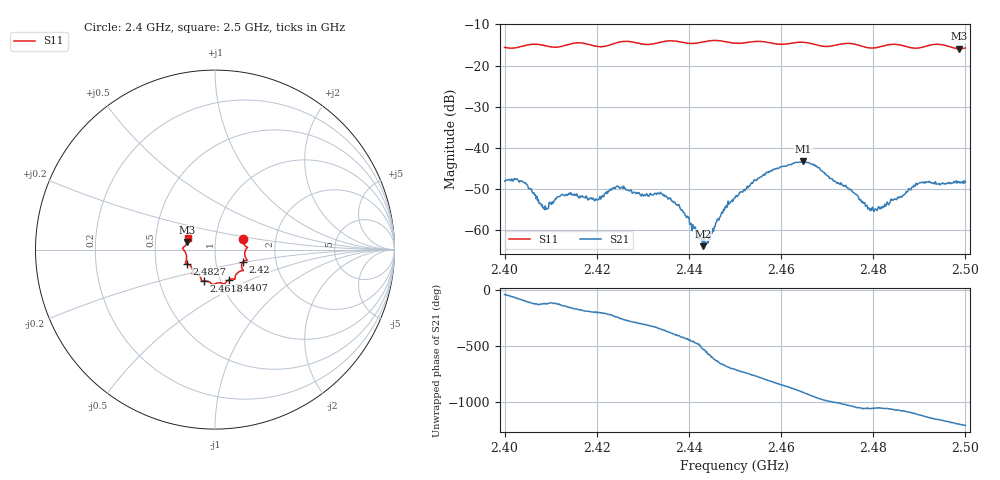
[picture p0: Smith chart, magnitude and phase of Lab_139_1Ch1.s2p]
# Hz S RI R 50
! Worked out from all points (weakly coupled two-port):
!   601 points, 2.4 GHz to 2.5 GHz, reference 50 ohm
!   highest |S21| = -43.33 dB at 2.4648 GHz (marker M1); lowest = -64.0 dB at 2.443 GHz (marker M2)
!   lowest |S11| = -15.9 dB at 2.4987 GHz (marker M3), VSWR 1.38, Z = 36.5 + j3.24 ohm
!   |S11| at or under -10 dB: start of sweep to end of sweep
!   S12 and S22 are empty: the file has one direction only
!   S11 on the Smith chart (normalised r, x): 2.4 GHz: 1.35, +0.17; 2.42 GHz: 1.36, -0.19; 2.4407 GHz: 1.10, -0.38; 2.4618 GHz: 0.83, -0.30; 2.4827 GHz: 0.72, -0.12; 2.5 GHz: 0.73, +0.10
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2.4e9  0.1546 0.0614  0.00312 -0.00239  0 0  0 0
2.404333e9  0.1738 0.0164  -0.000386 -0.00371  0 0  0 0
2.408833e9  0.1742 0.00461  -0.000857 -0.00176  0 0  0 0
2.412167e9  0.1665 -0.0332  -0.00173 -0.00198  0 0  0 0
2.416667e9  0.1789 -0.0586  -0.00255 -0.000264  0 0  0 0
2.42e9  0.1564 -0.069  -0.00219 0.000806  0 0  0 0
2.424333e9  0.1534 -0.1107  -0.00165 0.00296  0 0  0 0
2.433333e9  0.1115 -0.153  0.00267 0.000895  0 0  0 0
2.4375e9  0.1074 -0.1647  0.00138 -0.00142  0 0  0 0
2.440667e9  0.0792 -0.1675  -0.000137 -0.000972  0 0  0 0
2.443e9  0.0599 -0.1835  -0.000613 -0.000162  0 0  0 0
2.444e9  0.0559 -0.19  -0.000648 0.000317  0 0  0 0
2.45e9  0.0268 -0.1849  0.00242 0.000432  0 0  0 0
2.461833e9  -0.0614 -0.1748  -0.00551 -0.00292  0 0  0 0
2.464833e9  -0.0747 -0.1766  -0.00645 0.0022  0 0  0 0
2.466667e9  -0.0757 -0.1681  -0.0042 0.00473  0 0  0 0
2.479167e9  -0.1291 -0.1005  0.00173 0.000517  0 0  0 0
2.482667e9  -0.158 -0.0779  0.00186 0.000569  0 0  0 0
2.483333e9  -0.162 -0.077  0.00196 0.000491  0 0  0 0
2.490167e9  -0.1635 -0.0187  0.0029 -0.00241  0 0  0 0
2.498667e9  -0.1539 0.0432  -0.00215 -0.0032  0 0  0 0
2.5e9  -0.151 0.0633  -0.00275 -0.00277  0 0  0 0
